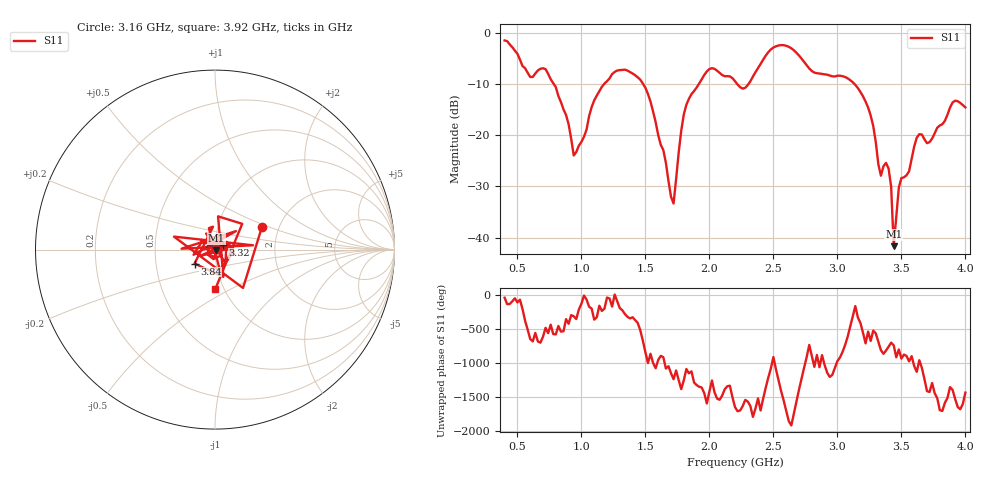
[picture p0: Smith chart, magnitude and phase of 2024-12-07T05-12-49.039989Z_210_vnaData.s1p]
!Created with skrf (http://scikit-rf.org).
# Hz S RI R 50.0
!freq ReS11 ImS11
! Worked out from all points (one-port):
!   181 points, 400 MHz to 4 GHz, reference 50 ohm
!   lowest |S11| = -41.7 dB at 3.44 GHz (marker M1), VSWR 1.02, Z = 50.8 - j0.32 ohm
!   |S11| at or under -10 dB: 784.4 MHz to 1.177 GHz (392.8 MHz wide, 40 % of centre); 1.482 GHz to 1.918 GHz (435.3 MHz wide, 25.6 % of centre); 3.134 GHz to end of sweep (the widest 3 of 4)
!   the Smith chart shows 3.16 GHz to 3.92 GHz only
!   S11 on the Smith chart (normalised r, x): 3.16 GHz: 1.63, +0.44; 3.32 GHz: 1.09, +0.06; 3.84 GHz: 0.79, -0.13; 3.92 GHz: 0.91, -0.42
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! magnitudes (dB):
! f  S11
! 400 MHz  -1.5
! 600 MHz  -8.6
! 720 MHz  -7.1
! 860 MHz  -15.0
! 940 MHz  -24.0
! 1.12 GHz  -12.3
! 1.3 GHz  -7.3
! 1.52 GHz  -11.9
! 1.72 GHz  -33.4
! 1.76 GHz  -23.4
! 1.82 GHz  -14.0
! 1.98 GHz  -7.5
! 2.2 GHz  -9.4
! 2.5 GHz  -2.9
! 2.66 GHz  -3.4
! 3.1 GHz  -9.2
! 3.16 GHz  -10.8
! 3.26 GHz  -16.2
! 3.32 GHz  -25.7
! 3.4 GHz  -26.5
! 3.42 GHz  -30.1
! 3.44 GHz  -41.7
! 3.48 GHz  -30.2
! 3.56 GHz  -27.1
! 3.62 GHz  -20.5
! 3.84 GHz  -17.2
! 3.92 GHz  -13.3
! 4 GHz  -14.6
